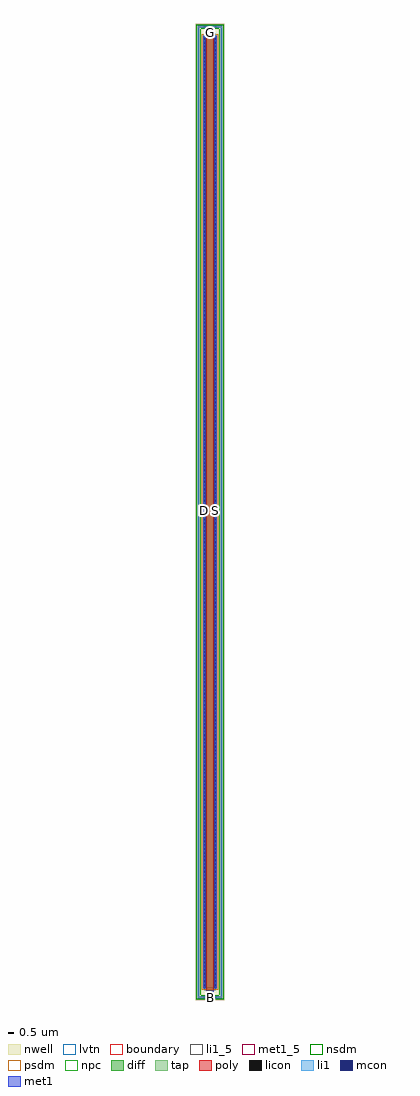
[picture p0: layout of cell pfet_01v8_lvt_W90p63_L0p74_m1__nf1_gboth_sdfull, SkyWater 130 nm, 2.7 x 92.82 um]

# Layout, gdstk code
import gdstk
lib = gdstk.Library(unit=1e-6, precision=1e-09)
def R(c, l, rs):  # rectangles x0, y0, x1, y1
    for r in rs: c.add(gdstk.rectangle(r[:2], r[2:], *l))
def A(c, l, x, y, w, h, nx, ny, dx, dy):  # array of equal rectangles
    R(c, l, [(x+i*dx, y+j*dy, x+i*dx+w, y+j*dy+h) for i in range(nx) for j in range(ny)])
nwell = (64, 20)
diff = (65, 20)
tap = (65, 44)
poly = (66, 20)
licon = (66, 44)
li1_5 = (67, 5)
li1 = (67, 20)
mcon = (67, 44)
met1_5 = (68, 5)
met1 = (68, 20)
nsdm = (93, 44)
psdm = (94, 20)
npc = (95, 20)
lvtn = (125, 44)
boundary = (235, 4)

sky130_fd_pr__pfet_01v8_ = lib.new_cell('sky130_fd_pr__pfet_01v8_lvt_Z4BQWC')
R(sky130_fd_pr__pfet_01v8_, nwell, [(-1.35,-46.41,1.35,46.41)])
R(sky130_fd_pr__pfet_01v8_, diff, [(-0.66,-45.315,0.66,45.315)])
R(sky130_fd_pr__pfet_01v8_, tap, [(-1.17,-46.23,1.17,-46.06), (-1.17,-46.06,-1,46.06), (1,-46.06,1.17,46.06), (-1.17,46.06,1.17,46.23)])
R(sky130_fd_pr__pfet_01v8_, poly, [(-0.37,-45.8,0.37,45.8)])
A(sky130_fd_pr__pfet_01v8_, licon, -0.595, -46.23, 0.17, 0.17, 4, 2, 0.34, 92.29)
A(sky130_fd_pr__pfet_01v8_, licon, -1.17, -45.645, 0.17, 0.17, 1, 269, 0, 0.34)
A(sky130_fd_pr__pfet_01v8_, licon, 1, -45.645, 0.17, 0.17, 1, 269, 0, 0.34)
A(sky130_fd_pr__pfet_01v8_, licon, -0.6, -45.135, 0.17, 0.17, 1, 266, 0, 0.34)
A(sky130_fd_pr__pfet_01v8_, licon, 0.43, -45.135, 0.17, 0.17, 1, 266, 0, 0.34)
R(sky130_fd_pr__pfet_01v8_, licon, [(-0.255,-45.72,-0.085,-45.55), (0.085,-45.72,0.255,-45.55), (-0.255,45.55,-0.085,45.72), (0.085,45.55,0.255,45.72)])
R(sky130_fd_pr__pfet_01v8_, li1, [(-1.17,-46.23,1.17,-46.06), (-1.17,-46.06,-1,46.06), (1,-46.06,1.17,46.06), (-0.37,-45.72,0.37,-45.55), (-0.6,-45.335,-0.43,45.335), (0.43,-45.335,0.6,45.335), (-0.37,45.55,0.37,45.72), (-1.17,46.06,1.17,46.23)])
A(sky130_fd_pr__pfet_01v8_, mcon, -0.6, -45.085, 0.17, 0.17, 1, 251, 0, 0.36)
A(sky130_fd_pr__pfet_01v8_, mcon, 0.43, -45.085, 0.17, 0.17, 1, 251, 0, 0.36)
R(sky130_fd_pr__pfet_01v8_, mcon, [(-0.265,-45.72,-0.095,-45.55), (0.095,-45.72,0.265,-45.55), (-0.265,45.55,-0.095,45.72), (0.095,45.55,0.265,45.72)])
R(sky130_fd_pr__pfet_01v8_, met1, [(-0.35,-45.75,0.35,-45.52), (-0.63,-45.315,-0.4,45.315), (0.4,-45.315,0.63,45.315), (-0.35,45.52,0.35,45.75)])
R(sky130_fd_pr__pfet_01v8_, nsdm, [(-1.295,-46.355,1.295,-45.935), (-1.295,-45.935,-0.875,45.935), (0.875,-45.935,1.295,45.935), (-1.295,45.935,1.295,46.355)])
R(sky130_fd_pr__pfet_01v8_, psdm, [(-0.785,-45.44,0.785,45.44)])
R(sky130_fd_pr__pfet_01v8_, npc, [(-0.355,-45.82,0.355,-45.45), (-0.355,45.45,0.355,45.82)])
R(sky130_fd_pr__pfet_01v8_, lvtn, [(-0.55,-45.495,0.55,45.495)])
R(sky130_fd_pr__pfet_01v8_, boundary, [(-1.085,-46.145,1.085,46.145)])
sky130_fd_pr__pfet_01v8_.add(gdstk.Label('B', (0,-46.145), layer=67, texttype=5))
sky130_fd_pr__pfet_01v8_.add(gdstk.Label('D', (-0.515,0), layer=67, texttype=5))
sky130_fd_pr__pfet_01v8_.add(gdstk.Label('S', (0.515,0), layer=67, texttype=5))
sky130_fd_pr__pfet_01v8_.add(gdstk.Label('G', (0,45.635), layer=67, texttype=5))

pfet_01v8_lvt_w90p63_l0p = lib.new_cell('pfet_01v8_lvt_W90p63_L0p74_m1__nf1_gboth_sdfull')
R(pfet_01v8_lvt_w90p63_l0p, li1_5, [(1,-0.085,1.17,0.085)])
R(pfet_01v8_lvt_w90p63_l0p, li1, [(1,-0.085,1.17,0.085)])
R(pfet_01v8_lvt_w90p63_l0p, met1_5, [(0.455,46.145,0.685,46.345), (1.485,46.145,1.715,46.345), (0.735,91.665,1.435,91.895)])
R(pfet_01v8_lvt_w90p63_l0p, met1, [(0.455,46.145,0.685,46.345), (1.485,46.145,1.715,46.345), (0.735,91.665,1.435,91.895)])
pfet_01v8_lvt_w90p63_l0p.add(gdstk.Reference(sky130_fd_pr__pfet_01v8_, (1.085,46.145)))
pfet_01v8_lvt_w90p63_l0p.add(gdstk.Label('D', (0.57,46.245), layer=68, texttype=5))
pfet_01v8_lvt_w90p63_l0p.add(gdstk.Label('S', (1.6,46.245), layer=68, texttype=5))
pfet_01v8_lvt_w90p63_l0p.add(gdstk.Label('G', (1.085,91.78), layer=68, texttype=5))
pfet_01v8_lvt_w90p63_l0p.add(gdstk.Label('B', (1.085,0), layer=67, texttype=5))

lib.write_gds('pfet_01v8_lvt_W90p63_L0p74_m1__nf1_gboth_sdfull.gds')
